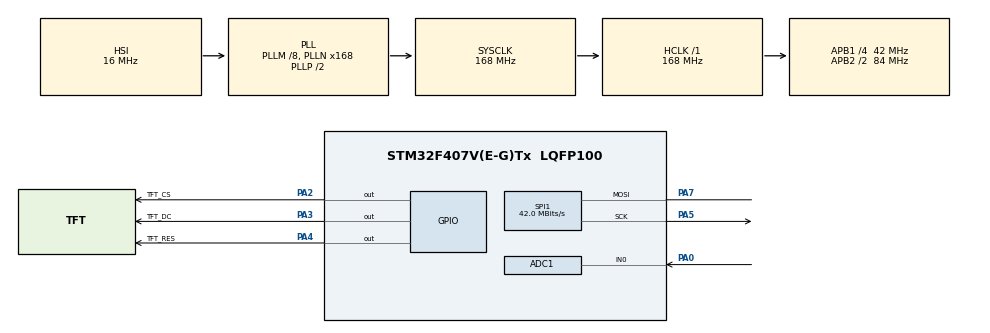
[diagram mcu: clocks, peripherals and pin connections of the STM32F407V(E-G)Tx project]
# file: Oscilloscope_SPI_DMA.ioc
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ADC1.Channel-2\#ChannelRegularConversion=ADC_CHANNEL_0
ADC1.ExternalTrigConv=ADC_EXTERNALTRIGCONV_T2_TRGO
ADC1.NbrOfConversionFlag=1
ADC1.Rank-2\#ChannelRegularConversion=1
ADC1.SamplingTime-2\#ChannelRegularConversion=ADC_SAMPLETIME_3CYCLES
ADC1.master=1
Dma.ADC1.1.Direction=DMA_PERIPH_TO_MEMORY
Dma.ADC1.1.FIFOMode=DMA_FIFOMODE_DISABLE
Dma.ADC1.1.Instance=DMA2_Stream0
Dma.ADC1.1.MemDataAlignment=DMA_MDATAALIGN_HALFWORD
Dma.ADC1.1.MemInc=DMA_MINC_ENABLE
Dma.ADC1.1.Mode=DMA_CIRCULAR
Dma.ADC1.1.PeriphDataAlignment=DMA_PDATAALIGN_HALFWORD
Dma.ADC1.1.PeriphInc=DMA_PINC_DISABLE
Dma.ADC1.1.Priority=DMA_PRIORITY_LOW
Dma.Request0=SPI1_TX
Dma.Request1=ADC1
Dma.SPI1_TX.0.Direction=DMA_MEMORY_TO_PERIPH
Dma.SPI1_TX.0.FIFOMode=DMA_FIFOMODE_DISABLE
Dma.SPI1_TX.0.Instance=DMA2_Stream3
Dma.SPI1_TX.0.MemDataAlignment=DMA_MDATAALIGN_BYTE
Dma.SPI1_TX.0.MemInc=DMA_MINC_ENABLE
Dma.SPI1_TX.0.Mode=DMA_NORMAL
Dma.SPI1_TX.0.PeriphDataAlignment=DMA_PDATAALIGN_BYTE
Dma.SPI1_TX.0.PeriphInc=DMA_PINC_DISABLE
Dma.SPI1_TX.0.Priority=DMA_PRIORITY_VERY_HIGH
Mcu.Family=STM32F4
Mcu.Name=STM32F407V(E-G)Tx
Mcu.Package=LQFP100
NVIC.DMA2_Stream0_IRQn=true\:0\:0\:false\:false\:true\:false\:true\:true
NVIC.DMA2_Stream3_IRQn=true\:0\:0\:false\:false\:true\:false\:true\:true
NVIC.PriorityGroup=NVIC_PRIORITYGROUP_4
PA0-WKUP.Signal=ADCx_IN0
PA13.Mode=Serial_Wire
PA13.Signal=SYS_JTMS-SWDIO
PA14.Mode=Serial_Wire
PA14.Signal=SYS_JTCK-SWCLK
PA2.GPIO_Label=TFT_CS
PA2.Signal=GPIO_Output
PA3.GPIO_Label=TFT_DC
PA3.Signal=GPIO_Output
PA4.GPIO_Label=TFT_RES
PA4.Signal=GPIO_Output
PA5.Mode=Simplex_Bidirectional_Master
PA5.Signal=SPI1_SCK
PA7.Mode=Simplex_Bidirectional_Master
PA7.Signal=SPI1_MOSI
PH0-OSC_IN.Mode=HSE-External-Oscillator
PH0-OSC_IN.Signal=RCC_OSC_IN
PH1-OSC_OUT.Mode=HSE-External-Oscillator
PH1-OSC_OUT.Signal=RCC_OSC_OUT
ProjectManager.HeapSize=0x200
ProjectManager.StackSize=0x400
ProjectManager.TargetToolchain=STM32CubeIDE
RCC.48MHZClocksFreq_Value=84000000
RCC.AHBFreq_Value=168000000
RCC.APB1CLKDivider=RCC_HCLK_DIV4
RCC.APB1Freq_Value=42000000
RCC.APB1TimFreq_Value=84000000
RCC.APB2CLKDivider=RCC_HCLK_DIV2
RCC.APB2Freq_Value=84000000
RCC.APB2TimFreq_Value=168000000
RCC.CortexFreq_Value=168000000
RCC.HCLKFreq_Value=168000000
RCC.HSE_VALUE=25000000
RCC.HSI_VALUE=16000000
RCC.LSE_VALUE=32768
RCC.PLLM=8
RCC.PLLN=168
RCC.SYSCLKFreq_VALUE=168000000
RCC.SYSCLKSource=RCC_SYSCLKSOURCE_PLLCLK
RCC.VCOOutputFreq_Value=336000000
SH.ADCx_IN0.0=ADC1_IN0,IN0
SPI1.CalculateBaudRate=42.0 MBits/s
SPI1.Direction=SPI_DIRECTION_1LINE
SPI1.Mode=SPI_MODE_MASTER
SPI1.VirtualType=VM_MASTER
TIM2.TIM_MasterOutputTrigger=TIM_TRGO_UPDATE
VP_TIM2_VS_ClockSourceINT.Mode=Internal
board=custom

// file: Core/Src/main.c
/* USER CODE BEGIN Header */
/**
  ******************************************************************************
  * @file           : main.c
  * @brief          : Main program body
  ******************************************************************************
  * @attention
  *
  * Copyright (c) 2026 STMicroelectronics.
  * All rights reserved.
  *
  * This software is licensed under terms that can be found in the LICENSE file
  * in the root directory of this software component.
  * If no LICENSE file comes with this software, it is provided AS-IS.
  *
  ******************************************************************************
  */
/* USER CODE END Header */
#include "main.h"
#include "adc.h"
#include "dma.h"
#include "spi.h"
#include "tim.h"
#include "gpio.h"

/* USER CODE BEGIN Includes */
#include "lcd_ili9341.h"
#include "oscilloscope_ui.h"
#include <math.h>
/* USER CODE END Includes */

/* USER CODE BEGIN PV */
extern uint8_t volt_div_scale;
uint16_t adc_buffer[320];
/* USER CODE END PV */

void SystemClock_Config(void);

int main(void)
{

  /* MCU Configuration--------------------------------------------------------*/

  /* Reset of all peripherals, Initializes the Flash interface and the Systick. */
  HAL_Init();

  /* Configure the system clock */
  SystemClock_Config();

  /* Initialize all configured peripherals */
  MX_GPIO_Init();
  MX_DMA_Init();
  MX_SPI1_Init();
  MX_ADC1_Init();
  MX_TIM2_Init();
  /* USER CODE BEGIN 2 */
    LCD_Init();
    UI_Init();

    HAL_TIM_Base_Start(&htim2);
    HAL_ADC_Start_DMA(&hadc1, (uint32_t*)adc_buffer, 320);
    /* USER CODE END 2 */

  /* Infinite loop */
    /* USER CODE BEGIN WHILE */
      while (1)
      {
          if(HAL_GPIO_ReadPin(GPIOE, GPIO_PIN_4) == GPIO_PIN_RESET) {
              HAL_Delay(20);
              if(HAL_GPIO_ReadPin(GPIOE, GPIO_PIN_4) == GPIO_PIN_RESET) {
                  if(volt_div_scale == 1) volt_div_scale = 2;
                  else volt_div_scale = 1;
                  while(HAL_GPIO_ReadPin(GPIOE, GPIO_PIN_4) == GPIO_PIN_RESET);
              }
          }

          UI_UpdateWaveform(adc_buffer);

          HAL_Delay(30); // ~33 FPS)

      /* USER CODE END WHILE */

  }
}

void SystemClock_Config(void)
{
  RCC_OscInitTypeDef RCC_OscInitStruct = {0};
  RCC_ClkInitTypeDef RCC_ClkInitStruct = {0};

  /** Configure the main internal regulator output voltage
  */
  __HAL_RCC_PWR_CLK_ENABLE();
  __HAL_PWR_VOLTAGESCALING_CONFIG(PWR_REGULATOR_VOLTAGE_SCALE1);

  /** Initializes the RCC Oscillators according to the specified parameters
  * in the RCC_OscInitTypeDef structure.
  */
  RCC_OscInitStruct.OscillatorType = RCC_OSCILLATORTYPE_HSI;
  RCC_OscInitStruct.HSIState = RCC_HSI_ON;
  RCC_OscInitStruct.HSICalibrationValue = RCC_HSICALIBRATION_DEFAULT;
  RCC_OscInitStruct.PLL.PLLState = RCC_PLL_ON;
  RCC_OscInitStruct.PLL.PLLSource = RCC_PLLSOURCE_HSI;
  RCC_OscInitStruct.PLL.PLLM = 8;
  RCC_OscInitStruct.PLL.PLLN = 168;
  RCC_OscInitStruct.PLL.PLLP = RCC_PLLP_DIV2;
  RCC_OscInitStruct.PLL.PLLQ = 4;
  if (HAL_RCC_OscConfig(&RCC_OscInitStruct) != HAL_OK)
  {
    Error_Handler();
  }

  /** Initializes the CPU, AHB and APB buses clocks
  */
  RCC_ClkInitStruct.ClockType = RCC_CLOCKTYPE_HCLK|RCC_CLOCKTYPE_SYSCLK
                              |RCC_CLOCKTYPE_PCLK1|RCC_CLOCKTYPE_PCLK2;
  RCC_ClkInitStruct.SYSCLKSource = RCC_SYSCLKSOURCE_PLLCLK;
  RCC_ClkInitStruct.AHBCLKDivider = RCC_SYSCLK_DIV1;
  RCC_ClkInitStruct.APB1CLKDivider = RCC_HCLK_DIV4;
  RCC_ClkInitStruct.APB2CLKDivider = RCC_HCLK_DIV2;

  if (HAL_RCC_ClockConfig(&RCC_ClkInitStruct, FLASH_LATENCY_5) != HAL_OK)
  {
    Error_Handler();
  }
}

void Error_Handler(void)
{
  __disable_irq();
  while (1)
  {
  }
}
